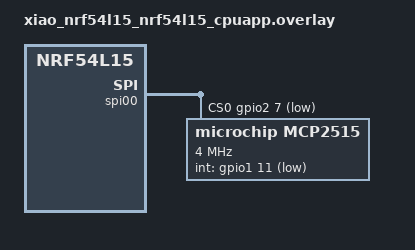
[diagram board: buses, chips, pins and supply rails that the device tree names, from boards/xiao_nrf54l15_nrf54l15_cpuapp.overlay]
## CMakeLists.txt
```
# SPDX-License-Identifier: Apache-2.0

cmake_minimum_required(VERSION 3.20.0)


# The Seeed XIAO nRF54L15 board definition is not part of NCS v3.1.0; it is kept in
# boards/seeed/xiao_nrf54l15 so the project builds without any extra -DBOARD_ROOT.
list(APPEND BOARD_ROOT ${CMAKE_CURRENT_SOURCE_DIR})

find_package(Zephyr REQUIRED HINTS $ENV{ZEPHYR_BASE})
project(Bridge)

target_sources(app PRIVATE
	src/main.c
	src/can_communication.c
	src/esb_communication.c
	src/esb_link.c
	src/esb_afh.c
	src/esb_pairing.c
	src/esb_ui.c
)

target_include_directories(app PRIVATE include)
```

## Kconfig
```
# Private config options for can sample app

# Copyright (c) 2018 Alexander Wachter
# SPDX-License-Identifier: Apache-2.0

mainmenu "Controller Area Network sample application"

config BRIDGE_PLAYOUT_DELAY_US
	int "Delay added to every bridged frame, in microseconds"
	default 20000
	range 0 200000
	help
	  Frames are timestamped on the source bus. The receiving board sends each one
	  on its bus this long after it was received on the source bus, which keeps
	  the original spacing between frames. It must cover the worst delay the
	  radio link adds (a few lost cycles at 3 ms each). Frames that arrive
	  later than that are sent immediately and counted as late.

config BRIDGE_AUTO_PAIR_ON_BOOT
	bool "Start pairing automatically at boot (bench testing)"

config BRIDGE_COUNTER_CHECK
	bool "Check the test message counter for lost frames (bench testing)"

config BRIDGE_COUNTER_ID
	hex "29-bit CAN id of the counter test message"
	depends on BRIDGE_COUNTER_CHECK
	default 0x14FF009E

config BRIDGE_SYNTHETIC_TRAFFIC
	bool "Inject synthetic CAN frames into the link (bench testing)"

config BRIDGE_SYNTHETIC_RATE
	int "Synthetic frames per second, in each direction"
	depends on BRIDGE_SYNTHETIC_TRAFFIC
	default 50
	range 1 20000

config BRIDGE_SYNTHETIC_ISOLATE
	bool "Radio-only test: ignore the CAN bus and do not transmit on it"
	depends on BRIDGE_SYNTHETIC_TRAFFIC
	help
	  Frames received from the CAN bus are discarded and frames arriving from the
	  radio are counted as sent without touching the bus, so the link can be
	  stress tested without loading either CAN bus.

config LOOPBACK_MODE
	bool "Loopback LOOPBACK_MODE"
	default y
	help
	  Set the controller to loopback mode.
	  This allows testing without a second board.

source "Kconfig.zephyr"
```

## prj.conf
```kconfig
CONFIG_CAN=y
CONFIG_CAN_INIT_PRIORITY=80
CONFIG_CAN_MAX_FILTER=5
CONFIG_CAN_MCP2515=y

CONFIG_STATS=y
CONFIG_STATS_NAMES=y
CONFIG_CAN_STATS=y

CONFIG_LOG=y
CONFIG_PRINTK=y

CONFIG_ESB=y
CONFIG_NRFX_DPPI10=y
CONFIG_CLOCK_CONTROL=y

#CONFIG_LOG_PROCESS_THREAD_PRIORITY=1
#CONFIG_LOG_BUFFER_SIZE=4096
#CONFIG_LOG_RUNTIME_FILTERING=y
CONFIG_LOG_PROCESS_THREAD_STACK_SIZE=2048

#CONFIG_LOG_MODE_DEFERRED=n

#CONFIG_THREAD_ANALYZER=y
#CONFIG_THREAD_ANALYZER_AUTO=y
#CONFIG_THREAD_ANALYZER_AUTO_INTERVAL=10
#CONFIG_THREAD_NAME=y

CONFIG_ESB_MAX_PAYLOAD_LENGTH=252

# Pairing storage and random numbers
CONFIG_FLASH=y
CONFIG_FLASH_MAP=y
CONFIG_ZMS=y
CONFIG_SETTINGS=y
CONFIG_ENTROPY_GENERATOR=y
CONFIG_ESB_TX_FIFO_SIZE=8
```

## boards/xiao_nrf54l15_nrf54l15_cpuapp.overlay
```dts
/ {
    chosen {
        zephyr_canbus = &mcp2515;
    };
};

&uart21 {
    status = "disabled";
};

&i2c22 {
    status = "disabled";
};

&spi00 {
    status = "okay";
    cs-gpios = <&gpio2 7 GPIO_ACTIVE_LOW>;

    mcp2515: mcp2515@0 {
        compatible = "microchip,mcp2515";
        reg = <0>;
        spi-max-frequency = <4000000>;
        int-gpios = <&gpio1 11 GPIO_ACTIVE_LOW>;
        osc-freq = <16000000>;
        status = "okay";
    };
};
```

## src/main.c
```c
#include <stdio.h>

#include <zephyr/kernel.h>
#include <zephyr/sys/printk.h>
#include <zephyr/device.h>
#include <zephyr/drivers/can.h>
#include <zephyr/drivers/gpio.h>
#include <zephyr/sys/byteorder.h>
#include <zephyr/logging/log.h>

#include "message_queues.h"
#include "can_communication.h"
#include "esb_communication.h"

LOG_MODULE_REGISTER(Main, LOG_LEVEL_DBG); //(module name, maximum log level)

K_MSGQ_DEFINE(msgq_CAN_to_ESB, sizeof(struct bridge_frame), MSGQ_QUEUE_SIZE, 4);
K_MSGQ_DEFINE(msgq_ESB_to_CAN, sizeof(struct bridge_frame), MSGQ_QUEUE_SIZE, 4);

const struct device *const can_dev = DEVICE_DT_GET(DT_CHOSEN(zephyr_canbus));

int main(void)
{
	int err;

	LOG_DBG("Test log 7");

	//Initialize CAN
	int can_init_status = can_init_interface(can_dev);
	printk("CAN init result=%d, device ready=%d\n", can_init_status,
	       device_is_ready(can_dev));
	can_init_rx_callback(can_dev);

	//Initialize CAN threads
	can_tx_thread_init(can_dev);
	poll_can_errors_thread_init(can_dev);


	//Initialize Enhanced ShockBurst (ESB)
	err = hf_clock_start();
	if (err) {
		LOG_ERR("HF clock initialization failed: %d", err);
		return err;
	}
	err = esb_initialize();
	if (err) {
		LOG_ERR("ESB initialization failed: %d", err);
		return err;
	}

	//Initialise ESB threads
	err = esb_tx_thread_init();
	if (err) {
		LOG_ERR("ESB thread initialization failed: %d", err);
		return err;
	}

	LOG_INF("Finished initialization");

	return 0;
}
```

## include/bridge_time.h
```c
#ifndef BRIDGE_TIME_H
#define BRIDGE_TIME_H

#include <zephyr/kernel.h>

/**
 * @brief Free-running microsecond clock used to timestamp CAN frames.
 *
 * Wraps after about 71 minutes, so always compare values with
 * bridge_us_diff() instead of the relational operators.
 */
static inline uint32_t bridge_now_us(void)
{
	return k_cyc_to_us_floor32(k_cycle_get_32());
}

/** Signed difference a - b of two bridge_now_us() values. */
static inline int32_t bridge_us_diff(uint32_t a, uint32_t b)
{
	return (int32_t)(a - b);
}

#endif
```

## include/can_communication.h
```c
#ifndef CAN_COMMUNICATION_H
#define CAN_COMMUNICATION_H

#include <zephyr/device.h>
#include <zephyr/drivers/can.h>


/**
 * @brief Initialise CAN interface
 *
 * @param can_dev Pointer to the device structure for the driver instance.
 * 
 * @retval 0 if successful.
 */
int can_init_interface(const struct device * can_dev);


/** 
 * @brief Function to add reception filters to a CAN driver instance.
 * Messages matching these filters will call the rx callback.
 *
 * @param dev Pointer to the device structure for the driver instance.
 */
void can_init_rx_callback(const struct device * can_dev);


/** 
 * @brief CAN transmit callback
 *
 * @param dev Pointer to the device structure for the driver instance.
 * @param error 
 * @param arg 
 */
void tx_irq_callback(const struct device *dev, int error, void *arg);


/** 
 * @brief CAN receive callback
 *
 * @param dev Pointer to the device structure for the driver instance.
 * @param frame Pointer to received CAN frame
 * @param user_data
 */
void rx_irq_callback(const struct device *dev, struct can_frame *frame, void *user_data);


/**
 * @brief Initialise can_tx_thread
 * 
 * @param can_dev Pointer to the device structure for the driver instance.
 * 
 * @retval 0 if successful.
 */
int can_tx_thread_init(const struct device * can_dev);


/**
 * @brief CAN transmit thread
 *
 * @param arg1 Pointer to the device structure for the driver instance.
 * @param unused2 unused
 * @param unused3 unused
 */
void can_tx_thread(void *arg1, void *unused2, void *unused3);


/**
 * @brief Initialise poll_can_errors_thread
 * 
 * @param can_dev Pointer to the device structure for the driver instance.
 * 
 * @retval 0 if successful.
 */
int poll_can_errors_thread_init(const struct device * can_dev);


/**
 * @brief poll can errors thread
 *
 * @param arg1 Pointer to the device structure for the driver instance.
 * @param arg2 unused
 * @param arg3 unused
 */
void poll_can_errors_thread(void *unused1, void *unused2, void *unused3);


/**
 * @brief Defines the CAN state change callback handler function signature
 *
 * @param dev       Pointer to the device structure for the driver instance.
 * @param state     State of the CAN controller.
 * @param err_cnt   CAN controller error counter values.
 * @param user_data User data provided the callback was set.
 */
void can_state_change_callback(const struct device *dev, enum can_state state,
			                struct can_bus_err_cnt err_cnt, void *user_data);


/**
 * @brief Work handler for the CAN state change
 *
 * @param work Pointer to the work
 */
void can_state_change_work_handler(struct k_work *work);


/**
 * @brief Returns corresponding string of can_state enum value
 *
 * @param state enum value
 * 
 * @retval string of can_state enum
 */
char *can_state_to_str(enum can_state state);


/**
 * @brief Returns string with message ID and data
 *
 * @param can_frame
 * 
 * @retval string with message ID and data
 */
char *can_msg_to_str(struct can_frame frame);



/** Frame counters for throughput/loss diagnostics. */
struct can_bridge_stats {
	uint32_t rx_frames;      /* received from the bus and queued for the radio */
	uint32_t rx_dropped;     /* old frames dropped because the radio queue was full */
	uint32_t tx_frames;      /* frames from the radio sent on the bus */
	uint32_t tx_errors;      /* frames that could not be sent (no free buffer, bus off...) */
	uint32_t tx_late_1ms;    /* frames sent more than 1 ms after their scheduled time */
	uint32_t tx_late_5ms;    /* ...more than 5 ms */
	uint32_t tx_late_20ms;   /* ...more than 20 ms */
	uint32_t tx_late_max_us; /* worst lateness seen */
	uint32_t tx_send_avg_us; /* average time can_send() takes (SPI transfers to the controller) */
	uint32_t tx_send_max_us; /* ...and the worst */
	uint32_t rx_overruns;    /* controller RX buffer overruns (frames lost in hardware) */
};

void can_get_bridge_stats(const struct device *can_dev, struct can_bridge_stats *out);

#endif
```

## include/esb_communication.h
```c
#ifndef ESB_COMMUNICATION_H
#define ESB_COMMUNICATION_H

/**
 * @brief Starts the high-frequency clock (HFCLK)
 * 
 * @retval 0 if successful
 */
int hf_clock_start(void);


/**
 * @brief Initialize Enhanced Shockburst (ESB)
 * 
 * @retval 0 if successful
 */
int esb_initialize(void);


/**
 * @brief Initialise esb_tx_thread
 * 
 * @retval 0 if successful.
 */
int esb_tx_thread_init(void);


/**
 * @brief ESB transmit thread
 *
 * @param unused1 unused
 * @param unused2 unused
 * @param unused3 unused
 */
void esb_tx_thread(void *unused1, void *unused2, void *unused3);


#endif
```

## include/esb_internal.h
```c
/*
 * Internal definitions shared by the esb_*.c files. Not part of the public API
 * (see esb_communication.h for that).
 *
 *   esb_communication.c  core: events, timers, HF clock, radio setup, public API, radio thread
 *   esb_link.c           data link: send queue, go-back-N, TDD cycle, timestamps
 *   esb_afh.c            adaptive frequency hopping
 *   esb_pairing.c        pairing handshake and persistent storage
 *   esb_ui.c             button, LED and statistics
 */
#ifndef ESB_INTERNAL_H
#define ESB_INTERNAL_H

#include <zephyr/logging/log.h>
#include <zephyr/kernel.h>
#include <zephyr/sys/atomic.h>
#include <zephyr/sys/byteorder.h>
#include <zephyr/sys/util.h>
#include <zephyr/random/random.h>
#include <stdlib.h>
#include <string.h>
#include <nrf.h>
#include <esb.h>

#include "bridge_time.h"
#include "message_queues.h"

/* ---- Tunables ----------------------------------------------------------- */
#define ESB_TX_THREAD_STACK_SIZE 2048
#define ESB_TX_THREAD_PRIORITY K_PRIO_COOP(1)

/* TDD cycle: one exchange (master packet + slave ACK payload) per cycle, on a new
 * channel each time. An exchange with two maximum-size packets lasts about 2.3 ms;
 * the slave must hop after its ACK has gone out (<= ~1.3 ms after it saw the packet)
 * and before the master's next packet (cycle - ~1.3 ms at the latest).
 */
#define CYCLE_US 3000U
#define HOP_AFTER_RX_US 1500U     /* slave hops this long after a received packet */
#define HOP_COUNT 16U             /* slots in the hop table */
#define POOL_COUNT 26U            /* candidate channels: 2403, 2406 ... 2478 MHz (3 MHz apart) */
#define POOL_CH(i) (3U + 3U * (i))
#define POOL_IDX(ch) (((ch) - 3U) / 3U)
#define SCAN_DWELL_MS 80U         /* slave: time spent on each channel while searching */
#define AFH_PERIOD_CYCLES 128U    /* master: how often the hop table is reviewed */
#define AFH_NEUTRAL_LOSS 64U      /* assumed loss (of 255) for channels with no data */
#define AFH_SWAP_MARGIN 40U       /* a channel must be this much worse to be replaced */
#define AFH_REPEAT_PENALTY 24     /* extra cost for each repeat of a channel in the table */
#define MISS_LIMIT 8U             /* missed cycles before the link is declared down */
#define LINK_RETRANSMIT_DELAY_US 2500U

#define UI_TICK_MS 20
#define STATS_PERIOD_MS 5000

/* ---- Wire format -------------------------------------------------------- */
#define PKT_DATA 0xC3U

/* Data packet: header, then frames packed by their real length.
 *   header: type(1) count(1) first_idx(2) ack_idx(2) cycle(2) rsvd(1) hop_table(16)
 *   frame : id(4) dlc|flags<<4(1) age(2, signed, AGE_UNIT_US) data(dlc)
 */
#define HDR_SIZE 25U
#define FRAME_OVERHEAD 7U
#define AGE_UNIT_US 16
#define ESB_OVERHEAD_BYTES 9U     /* preamble, address, packet control, CRC */
#define RADIO_RAMP_US 150U        /* TX start delay after the packet is written */
#define SQ_SIZE 64U               /* send queue, power of two */
#define RESYNC_WINDOW 1024        /* index jump that means "the peer restarted" */

BUILD_ASSERT(HDR_SIZE + FRAME_OVERHEAD + 8U <= CONFIG_ESB_MAX_PAYLOAD_LENGTH,
	     "ESB payload configuration is too small for a CAN frame");

/* ---- Events for the radio thread ---------------------------------------- */
#define EV_TX_OK BIT(0)
#define EV_TX_FAIL BIT(1)
#define EV_RX BIT(2)
#define EV_CYCLE BIT(3)   /* master: start of a TDD cycle */
#define EV_HOP BIT(4)     /* slave: time to move to the next channel */
#define EV_PAIR_TICK BIT(5)
#define EV_UI_TICK BIT(6)

/* ---- Shared state ------------------------------------------------------- */
enum bridge_state { ST_UNPAIRED, ST_PAIRING, ST_LINK };

struct pairing_rec {
	uint32_t peer_id;
	uint32_t key;
};

struct link_params {
	uint8_t base[4];
	uint8_t prefix;
	uint8_t hop[HOP_COUNT];
};

struct esb_stats {
	uint32_t tx_frames;        /* frames confirmed by the peer */
	uint32_t rx_frames;        /* frames received from the peer and queued for CAN */
	uint32_t rx_dropped;       /* ...of which old frames dropped because the queue was full */
	uint32_t cycles_ok;
	uint32_t cycles_lost;
	uint32_t cycles_skipped;
	uint32_t gobacks;
	uint32_t gaps;
	uint32_t afh_swaps;
};

extern struct pairing_rec stored;
extern bool stored_valid;
extern volatile enum bridge_state state;
extern volatile bool is_master;
extern struct link_params lp;
extern struct esb_stats esb_stats;
extern uint8_t chan_loss[POOL_COUNT];   /* master: smoothed loss per channel, 0..255 */
extern uint16_t cycle;                  /* TDD cycle counter (master's numbering) */
extern uint8_t missed;
extern bool link_up;
extern volatile uint32_t rx_event_us;   /* bridge_now_us() when the last packet was received */
extern struct esb_payload rx_payload;
extern struct esb_payload tx_payload;

extern struct k_timer cycle_timer;
extern struct k_timer hop_timer;
extern struct k_timer pair_timer;
extern struct k_timer ui_timer;

/* ---- esb_communication.c ------------------------------------------------ */
uint32_t local_device_id(void);
void esb_post_event(atomic_val_t ev);
void esb_clear_events(atomic_val_t ev);
int radio_setup(enum esb_mode mode, const uint8_t base[4], uint8_t prefix,
		uint8_t channel, uint16_t retx_count, uint16_t retx_delay);

/* ---- esb_link.c --------------------------------------------------------- */
void set_link(bool up);
int enter_link(void);
void stop_all_timers(void);
void link_radio_events(atomic_val_t ev);
void master_cycle(void);
void slave_hop(void);
#ifdef CONFIG_BRIDGE_COUNTER_CHECK
void esb_ctr_report(void);
#else
static inline void esb_ctr_report(void) { }
#endif

/* ---- esb_afh.c ---------------------------------------------------------- */
void derive_link(uint32_t key, uint32_t id_a, uint32_t id_b);
void afh_reset(void);
void afh_record(uint8_t ch, bool ok);
void afh_update(void);

/* ---- esb_pairing.c ------------------------------------------------------ */
void pairing_init(void);
void start_pairing(void);
void forget_pairing(void);
void pairing_radio_events(atomic_val_t ev);
void pairing_tick(void);

/* ---- esb_ui.c ----------------------------------------------------------- */
int ui_init(void);
void ui_tick(void);

#endif
```

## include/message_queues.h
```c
#ifndef MESSAGE_QUEUES_H
#define MESSAGE_QUEUES_H

#include <zephyr/kernel.h>
#include <zephyr/drivers/can.h>

#define MSGQ_QUEUE_SIZE 512

/**
 * A CAN frame travelling through the bridge, with a timestamp (bridge_now_us()
 * clock of this board):
 *  - in msgq_CAN_to_ESB: when the frame was received from the CAN bus;
 *  - in msgq_ESB_to_CAN: when it should be sent on the CAN bus, which keeps the
 *    spacing the frames had on the other bus.
 */
struct bridge_frame {
	struct can_frame frame;
	uint32_t t_us;
};

// Extern declarations for message queues
extern struct k_msgq msgq_ESB_to_CAN;
extern struct k_msgq msgq_CAN_to_ESB;

/**
 * Put a frame in a queue. If the queue is full the oldest frame is dropped to
 * make room, so a stalled consumer never blocks fresh data.
 *
 * @retval true if an old frame had to be dropped
 */
static inline bool bridge_msgq_put_drop_oldest(struct k_msgq *q, const struct bridge_frame *f)
{
	if (k_msgq_put(q, f, K_NO_WAIT) == 0) {
		return false;
	}
	struct bridge_frame old;

	(void)k_msgq_get(q, &old, K_NO_WAIT);
	(void)k_msgq_put(q, f, K_NO_WAIT);
	return true;
}

#endif
```

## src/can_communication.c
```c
#include <zephyr/drivers/can.h>
#include <zephyr/logging/log.h>
#include "can_communication.h"
#include "message_queues.h"
#include "bridge_time.h"

#define CAN_RX_THREAD_STACK_SIZE 512
#define CAN_RX_THREAD_PRIORITY 2
#define CAN_TX_THREAD_STACK_SIZE 512
#define CAN_TX_THREAD_PRIORITY 2
#define POLL_CAN_ERRORS_THREAD_STACK_SIZE 1024
#define POLL_CAN_ERRORS_THREAD_PRIORITY 2 

K_THREAD_STACK_DEFINE(can_rx_thread_stack, CAN_RX_THREAD_STACK_SIZE);
K_THREAD_STACK_DEFINE(can_tx_thread_stack, CAN_TX_THREAD_STACK_SIZE);
K_THREAD_STACK_DEFINE(poll_can_errors_stack, POLL_CAN_ERRORS_THREAD_STACK_SIZE);

struct k_thread can_rx_thread_data;
struct k_thread can_tx_thread_data;
struct k_thread poll_can_errors_thread_data;

struct k_work can_state_change_work;
enum can_state current_state;
struct can_bus_err_cnt current_err_cnt;
static uint32_t can_rx_queue_overflows;
static uint32_t can_rx_frames;
static uint32_t can_tx_frames;
static uint32_t can_tx_errors;
static uint32_t can_tx_late_1ms, can_tx_late_5ms, can_tx_late_20ms;
static uint32_t can_tx_late_max_us;
static uint64_t can_tx_send_us_total;
static uint32_t can_tx_send_us_max;

/* A frame is "late" if it leaves more than this after its scheduled time. */
#define CAN_TX_LATE_THRESHOLD_US 1000
/* Longest we ever hold a frame back, whatever its timestamp says. */
#define CAN_TX_MAX_HOLD_US 200000
/* How long to wait for a free controller buffer before giving the frame up. */
#define CAN_TX_BUFFER_TIMEOUT K_MSEC(5)
static bool first_can_rx_reported;

LOG_MODULE_REGISTER(CAN, LOG_LEVEL_DBG); //(module name, maximum log level)


int can_init_interface(const struct device * can_dev)
{
    int err;

	if (!device_is_ready(can_dev)) {
		LOG_ERR("CAN device %s not ready", can_dev->name);
		return EFAULT;
	}
	LOG_INF("CAN device %s ready", can_dev->name);

	//Set CAN mode
    err = can_set_mode(can_dev, CAN_MODE_NORMAL);
	if (err != 0) {
		LOG_ERR("Error setting CAN mode on device %s [%d]", can_dev->name, err);
		return err;
	}

	//Set CAN bitrate
	err = can_set_bitrate(can_dev, 500000);
		if (err != 0) {
		LOG_ERR("Error setting CAN bitrate on device %s [%d]", can_dev->name, err);
		return err;
	}

	//Start CAN controller
    err = can_start(can_dev);
	if (err != 0) {
		LOG_ERR("Error starting CAN controller on device %s [%d]", can_dev->name, err);
		return err;
	}

	//Set CAN state change callback
	can_set_state_change_callback(can_dev, can_state_change_callback, &can_state_change_work);

	//Initialize work for CAN state change
	k_work_init(&can_state_change_work, can_state_change_work_handler);

    return 0;
}


void can_init_rx_callback(const struct device * can_dev)
{
	//Create filters for CAN message reception
	const struct can_filter filter_std = {
		.flags = 0,
		.id = 0,     // Match any ID
		.mask = 0    // Ignore ID mask
	};

	const struct can_filter filter_extd = {
		.flags = CAN_FILTER_IDE,
		.id = 0,     // Match any ID
		.mask = 0    // Ignore ID mask
	};


	//Set CAN receive callback
	can_add_rx_filter(can_dev, rx_irq_callback, NULL, &filter_std);
	can_add_rx_filter(can_dev, rx_irq_callback, NULL, &filter_extd);

}


void tx_irq_callback(const struct device *dev, int error, void *arg)
{
	static uint32_t errors;

	ARG_UNUSED(dev);

	if (error != 0) {
		errors++;
		if (errors == 1U || (errors % 1000U) == 0U) {
			LOG_ERR("CAN transmit error %d (%u so far), sender: %s", error, errors,
				(char *)arg);
		}
	}
}

void rx_irq_callback(const struct device *dev, struct can_frame *frame, void *user_data)
{
	struct bridge_frame bf = {.frame = *frame, .t_us = bridge_now_us()};

	ARG_UNUSED(dev);
	ARG_UNUSED(user_data);

	if (IS_ENABLED(CONFIG_BRIDGE_SYNTHETIC_ISOLATE)) {
		return; /* radio-only test: ignore the real bus */
	}
	if (!first_can_rx_reported) {
		LOG_INF("First CAN frame received on local bus: id=0x%x, dlc=%u",
			frame->id, frame->dlc);
		first_can_rx_reported = true;
	}

	/* If the radio cannot keep up, drop the oldest frame, not the newest. */
	if (bridge_msgq_put_drop_oldest(&msgq_CAN_to_ESB, &bf)) {
		can_rx_queue_overflows++;
		if (can_rx_queue_overflows == 1U || (can_rx_queue_overflows % 5000U) == 0U) {
			LOG_ERR("rx_irq_callback: radio queue full, dropped %u old frames",
				can_rx_queue_overflows);
		}
	}
	can_rx_frames++;
}


void can_get_bridge_stats(const struct device *can_dev, struct can_bridge_stats *out)
{
	out->rx_frames = can_rx_frames;
	out->rx_dropped = can_rx_queue_overflows;
	out->tx_frames = can_tx_frames;
	out->tx_errors = can_tx_errors;
	out->tx_late_1ms = can_tx_late_1ms;
	out->tx_late_5ms = can_tx_late_5ms;
	out->tx_late_20ms = can_tx_late_20ms;
	out->tx_late_max_us = can_tx_late_max_us;
	out->tx_send_avg_us = can_tx_frames ? (uint32_t)(can_tx_send_us_total / can_tx_frames) : 0;
	out->tx_send_max_us = can_tx_send_us_max;
#ifdef CONFIG_CAN_STATS
	out->rx_overruns = can_stats_get_rx_overruns(can_dev);
#else
	ARG_UNUSED(can_dev);
	out->rx_overruns = 0;
#endif
}


int can_tx_thread_init(const struct device * can_dev)
{
	k_tid_t can_tx_tid;

	can_tx_tid = k_thread_create(&can_tx_thread_data, can_tx_thread_stack,
				 K_THREAD_STACK_SIZEOF(can_tx_thread_stack),
				 can_tx_thread, (void *)can_dev, NULL, NULL,
				 CAN_TX_THREAD_PRIORITY, 0, K_NO_WAIT);

	if (!can_tx_tid) {
		LOG_ERR("Error initializing can_tx_thread ");
		return EFAULT;
	}

	return 0;
}


void can_tx_thread(void *arg1, void *unused2, void *unused3)
{
	k_thread_name_set(k_current_get(), "can_tx");

	const struct device *can_dev = (const struct device *)arg1;
	struct bridge_frame bf;
	bool first_esb_can_frame_reported = false;
	int ret;

	while (1) {
		int32_t wait_us;
		int32_t late_us;

		ret = k_msgq_get(&msgq_ESB_to_CAN, &bf, K_FOREVER);
		if (ret != 0) {
			continue;
		}
		if (!first_esb_can_frame_reported) {
			LOG_INF("First CAN frame received from ESB: id=0x%x, dlc=%u",
				bf.frame.id, bf.frame.dlc);
			first_esb_can_frame_reported = true;
		}

		/* Playout: hold the frame until its scheduled time, so it leaves
		 * with the same spacing it had on the source bus.
		 */
		wait_us = bridge_us_diff(bf.t_us, bridge_now_us());
		if (wait_us > 0) {
			k_usleep(MIN(wait_us, CAN_TX_MAX_HOLD_US));
		}
		late_us = bridge_us_diff(bridge_now_us(), bf.t_us);
		if (late_us > CAN_TX_LATE_THRESHOLD_US) {
			can_tx_late_1ms++;
			can_tx_late_5ms += late_us > 5000;
			can_tx_late_20ms += late_us > 20000;
			if ((uint32_t)late_us > can_tx_late_max_us) {
				can_tx_late_max_us = late_us;
			}
		}

		/* Never block for long: if the controller has no free buffer (no node
		 * acknowledging, bus off...) give the frame up instead of stalling.
		 */
		uint32_t t_send = bridge_now_us();

		if (IS_ENABLED(CONFIG_BRIDGE_SYNTHETIC_ISOLATE)) {
			can_tx_frames++;   /* radio-only test: count it, do not touch the bus */
			continue;
		}
		ret = can_send(can_dev, &bf.frame, CAN_TX_BUFFER_TIMEOUT, tx_irq_callback,
			       "can_tx_thread_msg");
		t_send = bridge_now_us() - t_send;
		if (ret == 0) {
			/* The average is over successful sends only (it divides by can_tx_frames);
			 * failed ones wait out the timeout and would inflate it.
			 */
			can_tx_send_us_total += t_send;
		}
		if (t_send > can_tx_send_us_max) {
			can_tx_send_us_max = t_send;
		}
		if (ret != 0) {
			can_tx_errors++;
			if (can_tx_errors == 1U || (can_tx_errors % 500U) == 0U) {
				LOG_ERR("Failed to send ESB frame on CAN: %d (%u so far)", ret,
					can_tx_errors);
			}
		} else {
			can_tx_frames++;
		}
	}
}


int poll_can_errors_thread_init(const struct device * can_dev)
{
	k_tid_t poll_can_errors_tid;

	poll_can_errors_tid = k_thread_create(&poll_can_errors_thread_data, poll_can_errors_stack,
					K_THREAD_STACK_SIZEOF(poll_can_errors_stack),
					poll_can_errors_thread, (void *)can_dev, NULL, NULL,
					POLL_CAN_ERRORS_THREAD_PRIORITY, 0,
					K_NO_WAIT);

	if (!poll_can_errors_tid) {
		LOG_ERR("Error initializing poll_can_errors_thread ");
		return EFAULT;
	}

	return 0;
}


void poll_can_errors_thread(void *arg1, void *unused2, void *unused3)
{
	k_thread_name_set(k_current_get(), "poll_can_errors");

	const struct device *can_dev = (const struct device *)arg1;

	struct can_bus_err_cnt err_cnt = {0, 0};
	struct can_bus_err_cnt err_cnt_prev = {0, 0};
	enum can_state state_prev = CAN_STATE_ERROR_ACTIVE;
	enum can_state state;
	int err;

	while (1) {
		err = can_get_state(can_dev, &state, &err_cnt);
		if (err != 0) {
			LOG_WRN("Failed to get CAN controller state: %d", err);
			k_sleep(K_MSEC(100));
			continue;
		}

		if (err_cnt.tx_err_cnt != err_cnt_prev.tx_err_cnt ||
		    err_cnt.rx_err_cnt != err_cnt_prev.rx_err_cnt ||
		    state_prev != state) {

			err_cnt_prev.tx_err_cnt = err_cnt.tx_err_cnt;
			err_cnt_prev.rx_err_cnt = err_cnt.rx_err_cnt;
			state_prev = state;

			LOG_DBG("rx errors = %d | tx errors = %d", err_cnt.rx_err_cnt, err_cnt.tx_err_cnt);

		} else {
			k_sleep(K_MSEC(100));
		}
	}
}


void can_state_change_callback(const struct device *dev, enum can_state state,
			   struct can_bus_err_cnt err_cnt, void *user_data)
{
	struct k_work *work = (struct k_work *)user_data;

	ARG_UNUSED(dev);

	current_state = state;
	current_err_cnt = err_cnt;

	k_work_submit(work);
}


void can_state_change_work_handler(struct k_work *work)
{
	LOG_DBG("CAN state changed to:  %s", can_state_to_str(current_state));
}


char *can_state_to_str(enum can_state state)
{
	switch (state) {
	case CAN_STATE_ERROR_ACTIVE:
		return "error - active state";
	case CAN_STATE_ERROR_WARNING:
		return "error - warning state";
	case CAN_STATE_ERROR_PASSIVE:
		return "error - passive state";
	case CAN_STATE_BUS_OFF:
		return "bus-off state";
	case CAN_STATE_STOPPED:
		return "stopped state";
	default:
		return "unknown";
	}
}


char *can_msg_to_str(struct can_frame frame)
{
	static char message_data_string[80];
	static char data_buffer[64];
	char temp[8]; // Temporary buffer for one data element

	snprintf(message_data_string, sizeof(message_data_string), "ID=0x%08X - ", UNALIGNED_GET((uint32_t *)&frame.id));

	strcpy(data_buffer, "");
	for (int i = 0; i < frame.dlc; i++) {
		snprintf(temp, sizeof(temp), "[0x%02X]", UNALIGNED_GET((uint8_t *)&frame.data[i]));
		strncat(data_buffer, temp, sizeof(data_buffer) - strlen(data_buffer) - 1);
	}

	// Concatenate data_buffer into final string
	strncat(message_data_string, data_buffer, sizeof(message_data_string) - strlen(message_data_string) - 1);

	return message_data_string;
}
```

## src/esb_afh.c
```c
/*
 * Link addressing and adaptive frequency hopping.
 *
 * The master scores every channel of a 26-channel pool by how often exchanges on
 * it fail, and every AFH_PERIOD_CYCLES replaces the worst slot of the 16-slot hop
 * table by a better channel. The table travels in every packet, so the slave
 * simply follows it.
 */
#include "esb_internal.h"

LOG_MODULE_DECLARE(ESB);

static uint32_t xorshift32(uint32_t *s)
{
	uint32_t x = *s;

	x ^= x << 13;
	x ^= x >> 17;
	x ^= x << 5;
	return *s = x;
}

/* Avoid ESB address bytes with poor bit transitions. */
static uint8_t fix_addr_byte(uint8_t b)
{
	return (b == 0x00 || b == 0xFF || b == 0x55 || b == 0xAA) ? (b ^ 0x37) : b;
}

/* Derive the private address and the initial hop table from the pairing key. */
void derive_link(uint32_t key, uint32_t id_a, uint32_t id_b)
{
	uint32_t s = key ^ id_a ^ id_b;
	uint8_t pool[POOL_COUNT];

	if (s == 0) {
		s = 0x9E3779B9;
	}
	for (int i = 0; i < 4; i++) {
		lp.base[i] = fix_addr_byte(xorshift32(&s) >> 24);
	}
	lp.prefix = fix_addr_byte(xorshift32(&s) >> 24);

	/* Initial hop table: the first HOP_COUNT channels of a shuffled pool. */
	for (uint8_t i = 0; i < POOL_COUNT; i++) {
		pool[i] = POOL_CH(i);
	}
	for (uint8_t i = POOL_COUNT - 1; i > 0; i--) {
		uint8_t j = xorshift32(&s) % (i + 1);
		uint8_t t = pool[i];

		pool[i] = pool[j];
		pool[j] = t;
	}
	memcpy(lp.hop, pool, HOP_COUNT);
}

/* Forget everything learned about the channels. */
void afh_reset(void)
{
	for (uint8_t i = 0; i < POOL_COUNT; i++) {
		chan_loss[i] = AFH_NEUTRAL_LOSS;
	}
}

/* Record the outcome of one exchange on channel `ch`. */
void afh_record(uint8_t ch, bool ok)
{
	uint8_t i = POOL_IDX(ch);
	int target = ok ? 0 : 255;

	chan_loss[i] = (uint8_t)(chan_loss[i] + (target - (int)chan_loss[i]) / 8);
}

/* Review the hop table: replace the slot with the costliest channel by the
 * cheapest candidate if that is clearly better. A channel may appear in several
 * slots, but each extra use adds a penalty so the sequence stays spread out.
 * Never touches the slots used in this and the next cycle, so the slave (which
 * learns the table from each packet) stays in step.
 */
void afh_update(void)
{
	uint8_t uses[POOL_COUNT] = {0};
	int worst_slot = -1;
	int best_pool = -1;
	int worst_cost = 0;
	int best_cost = 0;
	uint8_t cur = cycle % HOP_COUNT;
	uint8_t nxt = (cycle + 1U) % HOP_COUNT;

	for (uint8_t slot = 0; slot < HOP_COUNT; slot++) {
		uses[POOL_IDX(lp.hop[slot])]++;
	}
	for (uint8_t slot = 0; slot < HOP_COUNT; slot++) {
		uint8_t pi = POOL_IDX(lp.hop[slot]);
		int cost = chan_loss[pi] + AFH_REPEAT_PENALTY * (uses[pi] - 1);

		if (slot != cur && slot != nxt && (worst_slot < 0 || cost > worst_cost)) {
			worst_slot = slot;
			worst_cost = cost;
		}
	}
	for (uint8_t i = 0; i < POOL_COUNT; i++) {
		int cost;

		if (uses[i] == 0U) {
			/* Unused channels drift back to "unknown" so they get retried. */
			chan_loss[i] = (uint8_t)(chan_loss[i] +
				((int)AFH_NEUTRAL_LOSS - (int)chan_loss[i]) / 16);
		}
		if (worst_slot >= 0 && POOL_CH(i) == lp.hop[worst_slot]) {
			continue;
		}
		cost = chan_loss[i] + AFH_REPEAT_PENALTY * uses[i];
		if (best_pool < 0 || cost < best_cost) {
			best_pool = i;
			best_cost = cost;
		}
	}
	if (worst_slot >= 0 && best_pool >= 0 && worst_cost > best_cost + AFH_SWAP_MARGIN) {
		LOG_INF("AFH: slot %d ch %u (%u%% loss) -> ch %u (%u%%)", worst_slot,
			lp.hop[worst_slot], chan_loss[POOL_IDX(lp.hop[worst_slot])] * 100U / 255U,
			POOL_CH(best_pool), chan_loss[best_pool] * 100U / 255U);
		lp.hop[worst_slot] = POOL_CH(best_pool);
		esb_stats.afh_swaps++;
	}
}
```

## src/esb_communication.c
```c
/*
 * Wireless CAN bridge radio link (Nordic ESB): core.
 *
 * Overview
 * --------
 *  - Press the user button on both boards to pair them (LED blinks fast). The
 *    boards exchange device IDs and a random link key on a fixed pairing
 *    channel, store the result in non-volatile memory and start the link.
 *    Role is negotiated automatically: the board with the lower device ID is
 *    the master (PTX), the other one the slave (PRX). Hold the button for 5 s
 *    to forget the pairing.
 *  - Once linked, the pair runs a fixed 3 ms TDD cycle made of two 1.5 ms
 *    slots. Slot 1: the master transmits its CAN frames. Slot 2: the slave
 *    answers with its CAN frames inside the ESB ACK payload. A new RF channel
 *    is used every cycle, following a hop table that the master adapts to
 *    interference and sends to the slave in every packet.
 *  - Frames are delivered reliably and in order in both directions, and are
 *    timestamped so the receiving board can put them on its bus with the same
 *    spacing they had on the source bus.
 *
 * This file holds what everything else builds on: the event queue and timers
 * that drive the radio thread, the HF clock, the ESB setup and the public API.
 */
#include <zephyr/drivers/clock_control.h>
#include <zephyr/drivers/clock_control/nrf_clock_control.h>
#include <hal/nrf_clock.h>
#include <hal/nrf_power.h>
#include <nrf_erratas.h>

#include "esb_communication.h"
#include "esb_internal.h"

LOG_MODULE_REGISTER(ESB, LOG_LEVEL_DBG);

K_THREAD_STACK_DEFINE(esb_tx_thread_stack, ESB_TX_THREAD_STACK_SIZE);
struct k_thread esb_tx_thread_data;

/* State shared between the esb_*.c files. */
struct pairing_rec stored;
bool stored_valid;
volatile enum bridge_state state = ST_UNPAIRED;
volatile bool is_master;
struct link_params lp;
struct esb_stats esb_stats;
uint8_t chan_loss[POOL_COUNT];
uint16_t cycle;
uint8_t missed;
bool link_up;
volatile uint32_t rx_event_us;
struct esb_payload rx_payload;
struct esb_payload tx_payload;

static bool hf_clock_requested;
static struct onoff_client hf_clock_client;

/* ---- Events and timers -------------------------------------------------- */
K_SEM_DEFINE(esb_wakeup, 0, 1);
static atomic_t pending_events;

void esb_post_event(atomic_val_t ev)
{
	atomic_or(&pending_events, ev);
	k_sem_give(&esb_wakeup);
}

void esb_clear_events(atomic_val_t ev)
{
	atomic_and(&pending_events, ~ev);
}

static void cycle_timer_expiry(struct k_timer *t) { ARG_UNUSED(t); esb_post_event(EV_CYCLE); }
static void hop_timer_expiry(struct k_timer *t) { ARG_UNUSED(t); esb_post_event(EV_HOP); }
static void pair_timer_expiry(struct k_timer *t) { ARG_UNUSED(t); esb_post_event(EV_PAIR_TICK); }
static void ui_timer_expiry(struct k_timer *t) { ARG_UNUSED(t); esb_post_event(EV_UI_TICK); }

K_TIMER_DEFINE(cycle_timer, cycle_timer_expiry, NULL);
K_TIMER_DEFINE(hop_timer, hop_timer_expiry, NULL);
K_TIMER_DEFINE(pair_timer, pair_timer_expiry, NULL);
K_TIMER_DEFINE(ui_timer, ui_timer_expiry, NULL);

uint32_t local_device_id(void)
{
	return NRF_FICR->INFO.DEVICEID[0];
}

/* ---- Clock -------------------------------------------------------------- */
int hf_clock_start(void)
{
	int err;
	int res;
	struct onoff_manager *clk_mgr;

	if (hf_clock_requested) {
		return 0;
	}

	clk_mgr = z_nrf_clock_control_get_onoff(CLOCK_CONTROL_NRF_SUBSYS_HF);
	if (!clk_mgr) {
		LOG_ERR("Unable to get the Clock manager");
		return -ENXIO;
	}

	sys_notify_init_spinwait(&hf_clock_client.notify);

	err = onoff_request(clk_mgr, &hf_clock_client);
	if (err < 0) {
		LOG_ERR("Clock request failed: %d", err);
		return err;
	}

	do {
		err = sys_notify_fetch_result(&hf_clock_client.notify, &res);
		if (!err && res) {
			LOG_ERR("Clock could not be started: %d", res);
			return res;
		}
	} while (err);
	hf_clock_requested = true;

#if NRF54L_ERRATA_20_PRESENT
	if (nrf54l_errata_20()) {
		nrf_power_task_trigger(NRF_POWER, NRF_POWER_TASK_CONSTLAT);
	}
#endif

	return 0;
}

/* ---- Radio -------------------------------------------------------------- */
static void event_handler(struct esb_evt const *event)
{
	switch (event->evt_id) {
	case ESB_EVENT_TX_SUCCESS:
		esb_post_event(EV_TX_OK);
		break;
	case ESB_EVENT_TX_FAILED:
		esb_post_event(EV_TX_FAIL);
		break;
	case ESB_EVENT_RX_RECEIVED:
		/* Timestamp the packet here, in the ISR, so the reference is as
		 * precise as possible. The slave also re-aligns its hop timer to
		 * it.
		 */
		rx_event_us = bridge_now_us();
		if (state == ST_LINK && !is_master) {
			k_timer_start(&hop_timer, K_USEC(HOP_AFTER_RX_US), K_USEC(CYCLE_US));
		}
		esb_post_event(EV_RX);
		break;
	}
}

int radio_setup(enum esb_mode mode, const uint8_t base[4], uint8_t prefix,
		uint8_t channel, uint16_t retx_count, uint16_t retx_delay)
{
	struct esb_config config = ESB_DEFAULT_CONFIG;
	int err;

	/* Cleanly leave RX before re-initialising; esb_init() on a running
	 * receiver leaves the radio PPI wiring in a state where the next
	 * transmission never completes.
	 */
	(void)esb_stop_rx();

	config.protocol = ESB_PROTOCOL_ESB_DPL;
	config.bitrate = ESB_BITRATE_2MBPS;
	config.mode = mode;
	config.retransmit_count = retx_count;
	config.retransmit_delay = retx_delay;
	config.selective_auto_ack = false;
	config.event_handler = event_handler;

	err = esb_init(&config);
	if (err) {
		return err;
	}
	err = esb_set_base_address_0(base);
	if (err) {
		return err;
	}
	err = esb_set_prefixes(&prefix, 1);
	if (err) {
		return err;
	}
	return esb_set_rf_channel(channel);
}

/* ---- Public API --------------------------------------------------------- */
int esb_initialize(void)
{
	int err = ui_init();

	if (err) {
		return err;
	}
	pairing_init();

	esb_clear_events(~0);
	k_timer_start(&ui_timer, K_MSEC(UI_TICK_MS), K_MSEC(UI_TICK_MS));

	LOG_INF("Device id 0x%08x", local_device_id());
	if (stored_valid) {
		LOG_INF("Stored pairing found: peer 0x%08x", stored.peer_id);
		return enter_link();
	}
	state = ST_UNPAIRED;
	LOG_INF("Not paired. Press the user button on both boards to pair.");
	if (IS_ENABLED(CONFIG_BRIDGE_AUTO_PAIR_ON_BOOT)) {
		start_pairing();
	}
	return 0;
}

int esb_tx_thread_init(void)
{
	k_tid_t tid = k_thread_create(&esb_tx_thread_data, esb_tx_thread_stack,
				      K_THREAD_STACK_SIZEOF(esb_tx_thread_stack),
				      esb_tx_thread, NULL, NULL, NULL,
				      ESB_TX_THREAD_PRIORITY, 0, K_NO_WAIT);

	if (!tid) {
		LOG_ERR("Error initializing esb_tx_thread");
		return -EFAULT;
	}
	return 0;
}

void esb_tx_thread(void *unused1, void *unused2, void *unused3)
{
	ARG_UNUSED(unused1);
	ARG_UNUSED(unused2);
	ARG_UNUSED(unused3);
	k_thread_name_set(k_current_get(), "esb_radio");

	while (true) {
		atomic_val_t ev;

		k_sem_take(&esb_wakeup, K_FOREVER);
		ev = atomic_set(&pending_events, 0);

		/* Radio results first, then timers. */
		if (ev & (EV_TX_OK | EV_TX_FAIL | EV_RX)) {
			if (state == ST_LINK) {
				link_radio_events(ev);
			} else if (state == ST_PAIRING) {
				pairing_radio_events(ev);
			}
		}
		if ((ev & EV_CYCLE) && state == ST_LINK && is_master) {
			master_cycle();
		}
		if ((ev & EV_HOP) && state == ST_LINK && !is_master) {
			slave_hop();
		}
		if ((ev & EV_PAIR_TICK) && state == ST_PAIRING) {
			pairing_tick();
		}
		if (ev & EV_UI_TICK) {
			ui_tick();
		}
	}
}
```

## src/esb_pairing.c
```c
/*
 * Pairing handshake and persistent storage of the pairing.
 *
 * Both boards enter pairing mode (button press). On a fixed channel and address
 * each one alternates between listening for a random time and sending a request.
 * Whoever hears a request answers inside the ESB ACK with its id and a random
 * key; the requester then confirms, and both store {peer id, key} and start the
 * link. The lower device id becomes the master.
 */
#include <zephyr/settings/settings.h>

#include "esb_internal.h"

LOG_MODULE_DECLARE(ESB);

#define PKT_PAIR_REQ 0xD1U
#define PKT_PAIR_RSP 0xD2U
#define PKT_PAIR_CONFIRM 0xD3U

#define PAIR_CHANNEL 2U
#define PAIR_SESSION_MS 30000
#define PAIR_TICK_MS 5
#define PAIR_LISTEN_MIN_MS 15
#define PAIR_LISTEN_SPAN_MS 40
#define PAIR_CONFIRM_WAIT_MS 300
#define PAIR_CONFIRM_TRIES 4

enum pair_phase { PH_LISTEN, PH_REQ_SENT, PH_WAIT_CONFIRM, PH_CONFIRM_SENT };

static const uint8_t pair_base[4] = {0x50, 0x41, 0x49, 0x52};
static const uint8_t pair_prefix = 0xC5;

static struct {
	enum pair_phase phase;
	int64_t phase_deadline;
	int64_t session_deadline;
	uint32_t my_key;
	uint32_t peer_id;
	uint32_t key;
	bool got_rsp;
	uint8_t confirm_tries;
} pair;

/* ---- Persistent storage ------------------------------------------------- */
static int settings_set_cb(const char *name, size_t len, settings_read_cb read_cb,
			   void *cb_arg)
{
	if (strcmp(name, "pair") == 0 && len == sizeof(stored)) {
		if (read_cb(cb_arg, &stored, sizeof(stored)) == sizeof(stored) &&
		    stored.key != 0 && stored.peer_id != 0) {
			stored_valid = true;
		}
	}
	return 0;
}

SETTINGS_STATIC_HANDLER_DEFINE(bridge, "bridge", NULL, settings_set_cb, NULL, NULL);

/* Load the stored pairing, if any, into `stored` / `stored_valid`. */
void pairing_init(void)
{
	int err = settings_subsys_init();

	if (!err) {
		err = settings_load();
	}
	if (err) {
		LOG_ERR("Settings init failed: %d (pairing will not persist)", err);
	}
}

static void save_pairing(void)
{
	int err = settings_save_one("bridge/pair", &stored, sizeof(stored));

	if (err) {
		LOG_ERR("Could not store pairing: %d", err);
	}
}

/* Forget the stored pairing and stop the link. */
void forget_pairing(void)
{
	stop_all_timers();
	(void)settings_delete("bridge/pair");
	memset(&stored, 0, sizeof(stored));
	stored_valid = false;
	set_link(false);
	esb_disable();
	state = ST_UNPAIRED;
	LOG_INF("Pairing erased");
}

/* ---- Handshake ---------------------------------------------------------- */
static void pair_listen(void)
{
	int err;

	pair.phase = PH_LISTEN;
	pair.got_rsp = false;
	pair.my_key = sys_rand32_get() | 1U;
	pair.phase_deadline = k_uptime_get() + PAIR_LISTEN_MIN_MS +
			      (sys_rand32_get() % PAIR_LISTEN_SPAN_MS);

	err = radio_setup(ESB_MODE_PRX, pair_base, pair_prefix, PAIR_CHANNEL, 0, 1000);
	if (err) {
		LOG_ERR("Pairing PRX setup failed: %d", err);
		return;
	}
	/* The answer to a pairing request rides in the ACK. */
	memset(&tx_payload, 0, sizeof(tx_payload));
	tx_payload.pipe = 0;
	tx_payload.length = 9;
	tx_payload.data[0] = PKT_PAIR_RSP;
	sys_put_le32(local_device_id(), &tx_payload.data[1]);
	sys_put_le32(pair.my_key, &tx_payload.data[5]);
	(void)esb_write_payload(&tx_payload);
	(void)esb_start_rx();
}

static int pair_send(uint8_t type)
{
	int err = radio_setup(ESB_MODE_PTX, pair_base, pair_prefix, PAIR_CHANNEL, 5, 600);

	if (err) {
		return err;
	}
	memset(&tx_payload, 0, sizeof(tx_payload));
	tx_payload.pipe = 0;
	tx_payload.length = 5;
	tx_payload.data[0] = type;
	sys_put_le32(local_device_id(), &tx_payload.data[1]);
	return esb_write_payload(&tx_payload);
}

static void pair_commit(void)
{
	stored.peer_id = pair.peer_id;
	stored.key = pair.key;
	stored_valid = true;
	save_pairing();
	LOG_INF("Paired with 0x%08x", stored.peer_id);
	(void)enter_link();
}

static void pair_exit(void)
{
	k_timer_stop(&pair_timer);
	if (stored_valid) {
		LOG_INF("Pairing timed out; resuming previous link");
		(void)enter_link();
	} else {
		esb_disable();
		state = ST_UNPAIRED;
		LOG_INF("Pairing timed out");
	}
}

void start_pairing(void)
{
	stop_all_timers();
	state = ST_PAIRING;
	pair.session_deadline = k_uptime_get() + PAIR_SESSION_MS;
	LOG_INF("Pairing mode: id=0x%08x (press the button on the other board)",
		local_device_id());
	pair_listen();
	k_timer_start(&pair_timer, K_MSEC(PAIR_TICK_MS), K_MSEC(PAIR_TICK_MS));
}

void pairing_radio_events(atomic_val_t ev)
{
	if (ev & EV_RX) {
		while (esb_read_rx_payload(&rx_payload) == 0) {
			uint8_t type = rx_payload.data[0];
			uint32_t id = rx_payload.length >= 5 ? sys_get_le32(&rx_payload.data[1]) : 0;

			if (id == 0 || id == local_device_id()) {
				continue;
			}
			if (type == PKT_PAIR_REQ && pair.phase == PH_LISTEN) {
				pair.peer_id = id;
				pair.key = pair.my_key;
				pair.phase = PH_WAIT_CONFIRM;
				pair.phase_deadline = k_uptime_get() + PAIR_CONFIRM_WAIT_MS;
			} else if (type == PKT_PAIR_REQ && pair.phase == PH_WAIT_CONFIRM &&
				   id == pair.peer_id) {
				/* Requester did not see our answer; give it again. */
				memset(&tx_payload, 0, sizeof(tx_payload));
				tx_payload.length = 9;
				tx_payload.data[0] = PKT_PAIR_RSP;
				sys_put_le32(local_device_id(), &tx_payload.data[1]);
				sys_put_le32(pair.key, &tx_payload.data[5]);
				esb_flush_tx();
				(void)esb_write_payload(&tx_payload);
			} else if (type == PKT_PAIR_RSP && pair.phase == PH_REQ_SENT &&
				   rx_payload.length == 9) {
				pair.peer_id = id;
				pair.key = sys_get_le32(&rx_payload.data[5]);
				pair.got_rsp = true;
			} else if (type == PKT_PAIR_CONFIRM && pair.phase == PH_WAIT_CONFIRM &&
				   id == pair.peer_id) {
				pair_commit();
				return;
			}
		}
	}
	if (ev & EV_TX_OK) {
		if (pair.phase == PH_REQ_SENT) {
			if (pair.got_rsp) {
				pair.phase = PH_CONFIRM_SENT;
				pair.confirm_tries = 0;
				if (pair_send(PKT_PAIR_CONFIRM)) {
					pair_commit();
				}
			} else {
				pair_listen();
			}
		} else if (pair.phase == PH_CONFIRM_SENT) {
			pair_commit();
		}
	}
	if (ev & EV_TX_FAIL) {
		esb_flush_tx();
		if (pair.phase == PH_REQ_SENT) {
			pair_listen();
		} else if (pair.phase == PH_CONFIRM_SENT) {
			if (++pair.confirm_tries < PAIR_CONFIRM_TRIES) {
				(void)pair_send(PKT_PAIR_CONFIRM);
			} else {
				LOG_WRN("Pairing confirmation not acknowledged; committing anyway");
				pair_commit();
			}
		}
	}
}

void pairing_tick(void)
{
	int64_t now = k_uptime_get();

	if (now >= pair.session_deadline) {
		pair_exit();
	} else if (pair.phase == PH_LISTEN && now >= pair.phase_deadline) {
		int err;

		pair.phase = PH_REQ_SENT;
		pair.got_rsp = false;
		err = pair_send(PKT_PAIR_REQ);
		if (err) {
			LOG_ERR("Pairing request failed: %d", err);
			pair_listen();
		}
	} else if (pair.phase == PH_WAIT_CONFIRM && now >= pair.phase_deadline) {
		pair_listen();
	}
}
```

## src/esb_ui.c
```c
/*
 * User interface: pairing button, status LED and periodic statistics.
 *
 *   short press      start pairing (LED blinks fast)
 *   hold for 5 s     forget the pairing
 *   LED solid        linked
 *   LED short flash  paired, link not up
 *   LED off          not paired
 */
#include <zephyr/drivers/gpio.h>

#include "can_communication.h"
#include "esb_internal.h"

LOG_MODULE_DECLARE(ESB);

#define FORGET_HOLD_MS 5000

#ifndef CONFIG_BRIDGE_SYNTHETIC_RATE
#define CONFIG_BRIDGE_SYNTHETIC_RATE 0   /* option disabled; keeps the code below compiling */
#endif

extern const struct device *const can_dev;

static const struct gpio_dt_spec pairing_button = GPIO_DT_SPEC_GET(DT_ALIAS(sw0), gpios);
static const struct gpio_dt_spec link_led = GPIO_DT_SPEC_GET(DT_ALIAS(led0), gpios);

int ui_init(void)
{
	int err;

	if (!gpio_is_ready_dt(&pairing_button) || !gpio_is_ready_dt(&link_led)) {
		return -ENODEV;
	}
	err = gpio_pin_configure_dt(&pairing_button, GPIO_INPUT);
	if (err) {
		return err;
	}
	return gpio_pin_configure_dt(&link_led, GPIO_OUTPUT_INACTIVE);
}

static void print_stats(void)
{
	static uint32_t prev_tx, prev_rx, prev_can_rx, prev_can_tx;
	struct can_bridge_stats cs;

	esb_ctr_report();
	can_get_bridge_stats(can_dev, &cs);
	LOG_INF("%s link=%d cycles ok/lost=%u/%u | CAN rx=%u (dropped %u, overrun %u) "
		"-> radio acked=%u | radio rx=%u (dropped %u) -> CAN tx=%u "
		"(err %u, late >1ms %u >5ms %u >20ms %u, max %u us, can_send avg %u max %u us) | queues c2e=%u e2c=%u | gobacks=%u gaps=%u",
		is_master ? "master" : "slave", link_up, esb_stats.cycles_ok, esb_stats.cycles_lost,
		cs.rx_frames, cs.rx_dropped, cs.rx_overruns, esb_stats.tx_frames,
		esb_stats.rx_frames, esb_stats.rx_dropped, cs.tx_frames, cs.tx_errors, cs.tx_late_1ms,
		cs.tx_late_5ms, cs.tx_late_20ms, cs.tx_late_max_us,
		cs.tx_send_avg_us, cs.tx_send_max_us, k_msgq_num_used_get(&msgq_CAN_to_ESB),
		k_msgq_num_used_get(&msgq_ESB_to_CAN), esb_stats.gobacks, esb_stats.gaps);
	if (is_master) {
		char buf[HOP_COUNT * 9 + 1];
		int n = 0;

		for (int i = 0; i < HOP_COUNT; i++) {
			n += snprintk(&buf[n], sizeof(buf) - n, "%u:%u%% ", lp.hop[i],
				      chan_loss[POOL_IDX(lp.hop[i])] * 100U / 255U);
		}
		LOG_INF("master skipped=%u afh_swaps=%u table(ch:loss): %s",
			esb_stats.cycles_skipped, esb_stats.afh_swaps, buf);
	}
	LOG_INF("rate/s: CAN rx %u, radio acked %u, radio rx %u, CAN tx %u",
		(cs.rx_frames - prev_can_rx) * 1000U / STATS_PERIOD_MS,
		(esb_stats.tx_frames - prev_tx) * 1000U / STATS_PERIOD_MS,
		(esb_stats.rx_frames - prev_rx) * 1000U / STATS_PERIOD_MS,
		(cs.tx_frames - prev_can_tx) * 1000U / STATS_PERIOD_MS);
	prev_can_rx = cs.rx_frames;
	prev_tx = esb_stats.tx_frames;
	prev_rx = esb_stats.rx_frames;
	prev_can_tx = cs.tx_frames;
}

void ui_tick(void)
{
	static uint32_t held_ms;
	static bool forgotten;
	static uint32_t ticks;
	static uint32_t stats_ms;
	bool pressed = gpio_pin_get_dt(&pairing_button) > 0;
	bool led;

	ticks++;
	if (pressed) {
		held_ms += UI_TICK_MS;
		if (held_ms >= FORGET_HOLD_MS && !forgotten) {
			forgotten = true;
			forget_pairing();
		}
	} else {
		if (held_ms >= 2 * UI_TICK_MS && !forgotten) {
			start_pairing();
		}
		held_ms = 0;
		forgotten = false;
	}

	switch (state) {
	case ST_PAIRING:
		led = (ticks / 5) % 2;                     /* 5 Hz blink */
		break;
	case ST_LINK:
		led = link_up ? true : (ticks % 50) < 5;   /* solid, or short 1 Hz flash */
		break;
	default:
		led = false;
		break;
	}
	if (gpio_is_ready_dt(&link_led)) {
		gpio_pin_set_dt(&link_led, led ? 1 : 0);
	}

	if (IS_ENABLED(CONFIG_BRIDGE_SYNTHETIC_TRAFFIC) && state == ST_LINK && link_up) {
		/* Synthetic CAN traffic for bench-testing the link. */
		static uint8_t counter;
		static uint32_t credit;   /* frames x 1000 still owed */

		credit += CONFIG_BRIDGE_SYNTHETIC_RATE * UI_TICK_MS;
		while (credit >= 1000U) {
			struct bridge_frame bf = {.frame = {.id = is_master ? 0x101 : 0x102,
							    .dlc = 8},
						  .t_us = bridge_now_us()};

			credit -= 1000U;
			bf.frame.data[0] = counter++;
			(void)bridge_msgq_put_drop_oldest(&msgq_CAN_to_ESB, &bf);
		}
	}

	stats_ms += UI_TICK_MS;
	if (stats_ms >= STATS_PERIOD_MS) {
		stats_ms = 0;
		if (state == ST_LINK) {
			print_stats();
		}
	}
}
```
